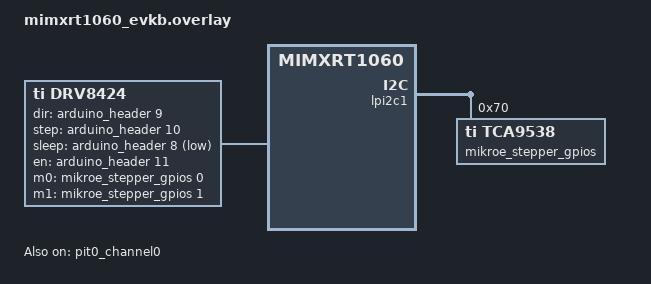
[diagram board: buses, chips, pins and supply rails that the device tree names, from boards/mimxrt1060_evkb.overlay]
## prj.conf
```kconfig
# Copyright (c) 2024 Navimatix GmbH
# SPDX-License-Identifier: Apache-2.0

CONFIG_ZTEST=y
CONFIG_TEST=y
CONFIG_TEST_USERSPACE=y
CONFIG_LOG=y
CONFIG_STEPPER_LOG_LEVEL_DBG=y
CONFIG_STEPPER=y
CONFIG_POLL=y
CONFIG_COUNTER=y
CONFIG_I2C=y
CONFIG_GPIO=y
```

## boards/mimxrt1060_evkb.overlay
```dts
/*
 * Copyright (c) 2024 Navimatix GmbH
 * SPDX-License-Identifier: Apache-2.0
 */

#include <zephyr/dt-bindings/gpio/gpio.h>

/ {
	 zephyr,user {
		 stepper-motors = <&drv8424 0>;
	 };
};

&lpi2c1 {
	 status = "okay";

	 mikroe_stepper_gpios: mikroe_stepper_ctrl_tca9538a@70 {
		 status = "okay";
		 compatible = "ti,tca9538";

		 reg = < 0x70 >;

		 gpio-controller;
		 ngpios = < 8 >;
		 #gpio-cells = < 2 >;

		 gpio-reserved-ranges = < 7 1 >;

		 gpio-line-names =
			 "M0",
			 "M1",
			 "DEC0",
			 "DEC1",
			 "TOFF",
			 "STP",
			 "DIR";
	 };
};

/ {

	 drv8424: drv8424 {
		 status = "okay";
		 compatible = "ti,drv8424";


		 dir-gpios = < &arduino_header 9 0 >; /* D3 */
		 step-gpios = < &arduino_header 10 0 >; /* D4 */
		 sleep-gpios = < &arduino_header 8 GPIO_ACTIVE_LOW >; /* D2 */
		 en-gpios  = < &arduino_header 11 0 >; /* 5 */
		 m0-gpios = < &mikroe_stepper_gpios 0 0 >;
		 m1-gpios = < &mikroe_stepper_gpios 1 0 >;
		 counter = < &pit0_channel0 >;

		 #address-cells = < 1 >;
		 #size-cells = < 0 >;
		 #stepper-motor-cells = < 0 >;

	 };
};

&pit0_channel0 {
	status = "okay";
};
```

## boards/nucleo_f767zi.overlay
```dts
/*
 * Copyright (c) 2024 Navimatix GmbH
 * SPDX-License-Identifier: Apache-2.0
 */

 #include <zephyr/dt-bindings/gpio/gpio.h>

/ {
	 zephyr,user {
		 stepper-motors = <&drv8424 0>;
	 };
};

&i2c1 {
	 status = "okay";

	 mikroe_stepper_gpios: mikroe_stepper_ctrl_tca9538a@70 {
		 status = "okay";
		 compatible = "ti,tca9538";

		 reg = < 0x70 >;

		 gpio-controller;
		 ngpios = < 8 >;
		 #gpio-cells = < 2 >;

		 gpio-reserved-ranges = < 7 1 >;

		 gpio-line-names =
			 "M0",
			 "M1",
			 "DEC0",
			 "DEC1",
			 "TOFF",
			 "STP",
			 "DIR";
	 };
};

/ {

	 drv8424: drv8424 {
		 status = "okay";
		 compatible = "ti,drv8424";


		 dir-gpios = < &arduino_header 18 0 >; /* D12 */
		 step-gpios = < &arduino_header 19 0 >; /* D13 */
		 sleep-gpios = < &arduino_header 15 GPIO_ACTIVE_LOW >; /* D9 */
		 en-gpios  = < &arduino_header 14 0 >; /* D8 */
		 m0-gpios = < &mikroe_stepper_gpios 0 0 >;
		 m1-gpios = < &mikroe_stepper_gpios 1 0 >;
		 counter = < &counter2 >;

		 #address-cells = < 1 >;
		 #size-cells = < 0 >;
		 #stepper-motor-cells = < 0 >;

	 };
};

&timers2 {
	 status = "okay";
	 counter2: counter {
		 status = "okay";
	 };
};
```

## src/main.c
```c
/*
 * Copyright 2024 Navimatix GmbH
 *
 * SPDX-License-Identifier: Apache-2.0
 */

#include "zephyr/drivers/gpio.h"
#include "zephyr/kernel.h"
#include "zephyr/ztest_assert.h"
#include <stdbool.h>
#include <stdint.h>
#include <zephyr/ztest.h>
#include <zephyr/drivers/stepper.h>

struct drv8424_api_fixture {
	const struct device *dev;
	stepper_event_callback_t callback;
};

struct k_poll_signal stepper_signal;
struct k_poll_event stepper_event;

struct gpio_dt_spec en_pin = GPIO_DT_SPEC_GET_OR(DT_NODELABEL(drv8424), en_gpios, {0});
struct gpio_dt_spec slp_pin = GPIO_DT_SPEC_GET_OR(DT_NODELABEL(drv8424), sleep_gpios, {0});

static void drv8424_api_print_event_callback(const struct device *dev, enum stepper_event event,
					     void *dummy)
{
	switch (event) {
	case STEPPER_EVENT_STEPS_COMPLETED:
		k_poll_signal_raise(&stepper_signal, STEPPER_EVENT_STEPS_COMPLETED);
		break;
	case STEPPER_EVENT_LEFT_END_STOP_DETECTED:
		k_poll_signal_raise(&stepper_signal, STEPPER_EVENT_LEFT_END_STOP_DETECTED);
		break;
	case STEPPER_EVENT_RIGHT_END_STOP_DETECTED:
		k_poll_signal_raise(&stepper_signal, STEPPER_EVENT_RIGHT_END_STOP_DETECTED);
		break;
	case STEPPER_EVENT_STALL_DETECTED:
		k_poll_signal_raise(&stepper_signal, STEPPER_EVENT_STALL_DETECTED);
		break;
	default:
		break;
	}
}

static void *drv8424_api_setup(void)
{
	static struct drv8424_api_fixture fixture = {
		.dev = DEVICE_DT_GET(DT_NODELABEL(drv8424)),
		.callback = drv8424_api_print_event_callback,
	};

	k_poll_signal_init(&stepper_signal);
	k_poll_event_init(&stepper_event, K_POLL_TYPE_SIGNAL, K_POLL_MODE_NOTIFY_ONLY,
			  &stepper_signal);

	zassert_not_null(fixture.dev);
	return &fixture;
}

static void drv8424_api_before(void *f)
{
	struct drv8424_api_fixture *fixture = f;
	(void)stepper_set_reference_position(fixture->dev, 0);
	(void)stepper_set_micro_step_res(fixture->dev, 1);
	k_poll_signal_reset(&stepper_signal);
}

static void drv8424_api_after(void *f)
{
	struct drv8424_api_fixture *fixture = f;
	(void)stepper_run(fixture->dev, STEPPER_DIRECTION_POSITIVE, 0);
}

ZTEST_F(drv8424_api, test_micro_step_res_set)
{
	(void)stepper_set_micro_step_res(fixture->dev, 4);
	enum stepper_micro_step_resolution res;
	(void)stepper_get_micro_step_res(fixture->dev, &res);
	zassert_equal(res, 4, "Micro step resolution not set correctly, should be %d but is %d", 4,
		      res);
}

ZTEST_F(drv8424_api, test_micro_step_res_set_incorrect_value_detection)
{
	int ret = 0;

	ret = stepper_set_micro_step_res(fixture->dev, 3);
	zassert_equal(ret, -EINVAL, "Command should fail with error %d but returned %d", -EINVAL,
		      ret);
}

ZTEST_F(drv8424_api, test_actual_position_set)
{
	int32_t pos = 100u;
	(void)stepper_set_reference_position(fixture->dev, pos);
	(void)stepper_get_actual_position(fixture->dev, &pos);
	zassert_equal(pos, 100u, "Actual position should be %u but is %u", 100u, pos);
}

ZTEST_F(drv8424_api, test_is_not_moving_when_disabled)
{
	int32_t steps = 100;
	bool moving = true;

	(void)stepper_enable(fixture->dev, true);
	(void)stepper_set_max_velocity(fixture->dev, 50u);
	(void)stepper_move_by(fixture->dev, steps);
	(void)stepper_enable(fixture->dev, false);
	(void)stepper_is_moving(fixture->dev, &moving);
	zassert_false(moving, "Driver should not be in state is_moving after being disabled");
}

ZTEST_F(drv8424_api, test_position_not_updating_when_disabled)
{
	int32_t steps = 1000;
	int32_t position_1 = 0;
	int32_t position_2 = 0;

	(void)stepper_enable(fixture->dev, true);
	(void)stepper_set_max_velocity(fixture->dev, 50u);
	(void)stepper_move_by(fixture->dev, steps);
	(void)stepper_enable(fixture->dev, false);
	(void)stepper_get_actual_position(fixture->dev, &position_1);
	k_msleep(100);
	(void)stepper_get_actual_position(fixture->dev, &position_2);
	zassert_equal(position_2, position_1,
		      "Actual position should not have changed from %d but is %d", position_1,
		      position_2);
}

ZTEST_F(drv8424_api, test_is_not_moving_when_reenabled_after_movement)
{
	int32_t steps = 1000;
	bool moving = true;

	(void)stepper_enable(fixture->dev, true);
	(void)stepper_set_max_velocity(fixture->dev, 50u);
	(void)stepper_move_by(fixture->dev, steps);
	(void)stepper_enable(fixture->dev, false);
	(void)k_msleep(100);
	(void)stepper_enable(fixture->dev, true);
	(void)k_msleep(100);
	(void)stepper_is_moving(fixture->dev, &moving);
	zassert_false(moving, "Driver should not be in state is_moving after being reenabled");
}
ZTEST_F(drv8424_api, test_position_not_updating_when_reenabled_after_movement)
{
	int32_t steps = 1000;
	int32_t position_1 = 0;
	int32_t position_2 = 0;

	(void)stepper_enable(fixture->dev, true);
	(void)stepper_set_max_velocity(fixture->dev, 50u);
	(void)stepper_move_by(fixture->dev, steps);
	(void)stepper_enable(fixture->dev, false);
	(void)stepper_get_actual_position(fixture->dev, &position_1);
	(void)k_msleep(100);
	(void)stepper_enable(fixture->dev, true);
	(void)k_msleep(100);
	(void)stepper_get_actual_position(fixture->dev, &position_2);
	zassert_equal(position_2, position_1,
		      "Actual position should not have changed from %d but is %d", position_1,
		      position_2);
}

ZTEST_F(drv8424_api, test_move_to_positive_direction_movement)
{
	int32_t pos = 50;

	(void)stepper_enable(fixture->dev, true);
	(void)stepper_set_max_velocity(fixture->dev, 50u);
	(void)stepper_set_event_callback(fixture->dev, fixture->callback, NULL);
	(void)stepper_move_to(fixture->dev, pos);
	(void)k_poll(&stepper_event, 1, K_SECONDS(5));
	unsigned int signaled;
	int result;

	k_poll_signal_check(&stepper_signal, &signaled, &result);
	zassert_equal(signaled, 1, "No event detected");
	zassert_equal(result, STEPPER_EVENT_STEPS_COMPLETED,
		      "Event was not STEPPER_EVENT_STEPS_COMPLETED event");
	(void)stepper_get_actual_position(fixture->dev, &pos);
	zassert_equal(pos, 50u, "Target position should be %d but is %d", 50u, pos);
}

ZTEST_F(drv8424_api, test_move_to_negative_direction_movement)
{
	int32_t pos = -50;

	(void)stepper_enable(fixture->dev, true);
	(void)stepper_set_max_velocity(fixture->dev, 50u);
	(void)stepper_set_event_callback(fixture->dev, fixture->callback, NULL);
	(void)stepper_move_to(fixture->dev, pos);
	(void)k_poll(&stepper_event, 1, K_SECONDS(5));
	unsigned int signaled;
	int result;

	k_poll_signal_check(&stepper_signal, &signaled, &result);
	zassert_equal(signaled, 1, "No event detected");
	zassert_equal(result, STEPPER_EVENT_STEPS_COMPLETED,
		      "Event was not STEPPER_EVENT_STEPS_COMPLETED event");
	(void)stepper_get_actual_position(fixture->dev, &pos);
	zassert_equal(pos, -50, "Target position should be %d but is %d", -50, pos);
}

ZTEST_F(drv8424_api, test_move_to_identical_current_and_target_position)
{
	int32_t pos = 0;

	(void)stepper_enable(fixture->dev, true);
	(void)stepper_set_max_velocity(fixture->dev, 50u);
	(void)stepper_set_event_callback(fixture->dev, fixture->callback, NULL);
	(void)stepper_move_to(fixture->dev, pos);
	(void)k_poll(&stepper_event, 1, K_SECONDS(5));
	unsigned int signaled;
	int result;

	k_poll_signal_check(&stepper_signal, &signaled, &result);
	zassert_equal(signaled, 1, "No event detected");
	zassert_equal(result, STEPPER_EVENT_STEPS_COMPLETED,
		      "Event was not STEPPER_EVENT_STEPS_COMPLETED event");
	(void)stepper_get_actual_position(fixture->dev, &pos);
	zassert_equal(pos, 0, "Target position should not have changed from %d but is %d", 0, pos);
}

ZTEST_F(drv8424_api, test_move_to_zero_velocity)
{
	int32_t pos = 100;
	int32_t ret = 0;

	(void)stepper_enable(fixture->dev, true);
	(void)stepper_set_max_velocity(fixture->dev, 0u);
	ret = stepper_move_to(fixture->dev, pos);

	zassert_not_equal(ret, 0, "Command should fail with an error code, but returned 0");
	k_msleep(100);
	(void)stepper_get_actual_position(fixture->dev, &pos);
	zassert_equal(pos, 0, "Target position should not have changed from %d but is %d", 0, pos);
}

ZTEST_F(drv8424_api, test_move_to_is_moving_true_while_moving)
{
	int32_t pos = 50;
	bool moving = false;

	(void)stepper_enable(fixture->dev, true);
	(void)stepper_set_max_velocity(fixture->dev, 50u);
	(void)stepper_set_event_callback(fixture->dev, fixture->callback, NULL);
	(void)stepper_move_to(fixture->dev, pos);
	(void)stepper_is_moving(fixture->dev, &moving);
	zassert_true(moving, "Driver should be in state is_moving while moving");
}

ZTEST_F(drv8424_api, test_move_to_is_moving_false_when_completed)
{
	int32_t pos = 50;
	bool moving = false;

	(void)stepper_enable(fixture->dev, true);
	(void)stepper_set_max_velocity(fixture->dev, 50u);
	(void)stepper_set_event_callback(fixture->dev, fixture->callback, NULL);
	(void)stepper_move_to(fixture->dev, pos);
	(void)k_poll(&stepper_event, 1, K_SECONDS(5));
	unsigned int signaled;
	int result;

	k_poll_signal_check(&stepper_signal, &signaled, &result);
	zassert_equal(signaled, 1, "No event detected");
	zassert_equal(result, STEPPER_EVENT_STEPS_COMPLETED,
		      "Event was not STEPPER_EVENT_STEPS_COMPLETED event");
	(void)stepper_is_moving(fixture->dev, &moving);
	zassert_false(moving, "Driver should not be in state is_moving after finishing");
}

ZTEST_F(drv8424_api, test_move_to_no_movement_when_disabled)
{
	int32_t pos = 50;
	int32_t curr_pos = 50;
	int32_t ret = 0;

	(void)stepper_set_max_velocity(fixture->dev, 50u);
	(void)stepper_enable(fixture->dev, false);

	ret = stepper_move_to(fixture->dev, pos);
	zassert_not_equal(
		ret, 0,
		"Movement command should not run when not enabled and should return error code");
	(void)stepper_get_actual_position(fixture->dev, &curr_pos);
	zassert_equal(curr_pos, 0, "Current position should not have changed from %d but is %d", 0,
		      curr_pos);
}

ZTEST_F(drv8424_api, test_move_by_positive_step_count)
{
	int32_t steps = 50;

	(void)stepper_enable(fixture->dev, true);
	(void)stepper_set_max_velocity(fixture->dev, 50u);
	(void)stepper_set_event_callback(fixture->dev, fixture->callback, NULL);
	(void)stepper_move_by(fixture->dev, steps);
	(void)k_poll(&stepper_event, 1, K_SECONDS(5));
	unsigned int signaled;
	int result;

	k_poll_signal_check(&stepper_signal, &signaled, &result);
	zassert_equal(signaled, 1, "No event detected");
	zassert_equal(result, STEPPER_EVENT_STEPS_COMPLETED,
		      "Event was not STEPPER_EVENT_STEPS_COMPLETED event");
	(void)stepper_get_actual_position(fixture->dev, &steps);
	zassert_equal(steps, 50u, "Target position should be %d but is %d", 50u, steps);
}

ZTEST_F(drv8424_api, test_move_by_negative_step_count)
{
	int32_t steps = -50;

	(void)stepper_enable(fixture->dev, true);
	(void)stepper_set_max_velocity(fixture->dev, 50u);
	(void)stepper_set_event_callback(fixture->dev, fixture->callback, NULL);
	(void)stepper_move_by(fixture->dev, steps);
	(void)k_poll(&stepper_event, 1, K_SECONDS(5));
	unsigned int signaled;
	int result;

	k_poll_signal_check(&stepper_signal, &signaled, &result);
	zassert_equal(signaled, 1, "No event detected");
	zassert_equal(result, STEPPER_EVENT_STEPS_COMPLETED,
		      "Event was not STEPPER_EVENT_STEPS_COMPLETED event");
	(void)stepper_get_actual_position(fixture->dev, &steps);
	zassert_equal(steps, -50, "Target position should be %d but is %d", -50, steps);
}

ZTEST_F(drv8424_api, test_move_by_zero_steps_no_movement)
{
	int32_t steps = 0;

	(void)stepper_enable(fixture->dev, true);
	(void)stepper_set_max_velocity(fixture->dev, 50u);
	(void)stepper_set_event_callback(fixture->dev, fixture->callback, NULL);
	(void)stepper_move_by(fixture->dev, steps);
	(void)k_poll(&stepper_event, 1, K_SECONDS(5));
	unsigned int signaled;
	int result;

	k_poll_signal_check(&stepper_signal, &signaled, &result);
	zassert_equal(signaled, 1, "No event detected");
	zassert_equal(result, STEPPER_EVENT_STEPS_COMPLETED,
		      "Event was not STEPPER_EVENT_STEPS_COMPLETED event");
	(void)stepper_get_actual_position(fixture->dev, &steps);
	zassert_equal(steps, 0, "Target position should be %d but is %d", 0, steps);
}

ZTEST_F(drv8424_api, test_move_by_zero_velocity)
{
	int32_t steps = 100;
	int32_t ret = 0;
	int32_t pos = 100;

	(void)stepper_enable(fixture->dev, true);
	(void)stepper_set_max_velocity(fixture->dev, 0u);
	ret = stepper_move_by(fixture->dev, steps);

	zassert_not_equal(ret, 0, "Command should fail with an error code, but returned 0");
	k_msleep(100);
	(void)stepper_get_actual_position(fixture->dev, &pos);
	zassert_equal(pos, 0, "Target position should not have changed from %d but is %d", 0, pos);
}

ZTEST_F(drv8424_api, test_move_by_is_moving_true_while_moving)
{
	int32_t steps = 50;
	bool moving = false;

	(void)stepper_enable(fixture->dev, true);
	(void)stepper_set_max_velocity(fixture->dev, 50u);
	(void)stepper_set_event_callback(fixture->dev, fixture->callback, NULL);
	(void)stepper_move_by(fixture->dev, steps);
	(void)stepper_is_moving(fixture->dev, &moving);
	zassert_true(moving, "Driver should be in state is_moving");
}

ZTEST_F(drv8424_api, test_move_by_is_moving_false_when_completed)
{
	int32_t steps = 50;
	bool moving = true;

	(void)stepper_enable(fixture->dev, true);
	(void)stepper_set_max_velocity(fixture->dev, 50u);
	(void)stepper_set_event_callback(fixture->dev, fixture->callback, NULL);
	(void)stepper_move_by(fixture->dev, steps);
	(void)k_poll(&stepper_event, 1, K_SECONDS(5));
	unsigned int signaled;
	int result;

	k_poll_signal_check(&stepper_signal, &signaled, &result);
	zassert_equal(signaled, 1, "No event detected");
	zassert_equal(result, STEPPER_EVENT_STEPS_COMPLETED,
		      "Event was not STEPPER_EVENT_STEPS_COMPLETED event");
	(void)stepper_is_moving(fixture->dev, &moving);
	zassert_false(moving, "Driver should not be in state is_moving after completion");
}

ZTEST_F(drv8424_api, test_move_by_no_movement_when_disabled)
{
	int32_t steps = 100;
	int32_t curr_pos = 100;
	int32_t ret = 0;

	(void)stepper_set_max_velocity(fixture->dev, 50u);
	(void)stepper_enable(fixture->dev, false);

	ret = stepper_move_by(fixture->dev, steps);
	zassert_not_equal(ret, 0, "Movement command should not run when not enabled");
	(void)stepper_get_actual_position(fixture->dev, &curr_pos);
	zassert_equal(curr_pos, 0, "Current position should not have changed from %d but is %d", 0,
		      curr_pos);
}

ZTEST_F(drv8424_api, test_run_positive_direction_correct_position)
{
	int32_t velocity = 50;
	int32_t steps = 0;

	(void)stepper_enable(fixture->dev, true);
	(void)stepper_run(fixture->dev, STEPPER_DIRECTION_POSITIVE, velocity);
	k_busy_wait(110000);

	(void)stepper_get_actual_position(fixture->dev, &steps);
	zassert_true(4 <= steps && steps <= 6,
		     "Current position should be between 4 and 6 but is %d", steps);
}

ZTEST_F(drv8424_api, test_run_negative_direction_correct_position)
{
	int32_t velocity = 50;
	int32_t steps = 0;

	(void)stepper_enable(fixture->dev, true);
	(void)stepper_run(fixture->dev, STEPPER_DIRECTION_NEGATIVE, velocity);
	k_busy_wait(110000);

	(void)stepper_get_actual_position(fixture->dev, &steps);
	zassert_true(-6 <= steps && steps <= -4,
		     "Current position should be between -6 and -4 but is %d", steps);
}

ZTEST_F(drv8424_api, test_run_zero_velocity_correct_position)
{
	int32_t velocity = 0;
	int32_t steps = 0;

	(void)stepper_enable(fixture->dev, true);
	(void)stepper_run(fixture->dev, STEPPER_DIRECTION_POSITIVE, velocity);
	k_msleep(100);

	zassert_equal(steps, 0, "Current position should not have changed from %d but is %d", 0,
		      steps);
}

ZTEST_F(drv8424_api, test_run_is_moving_true_when_velocity_greater_zero)
{
	int32_t velocity = 50;
	bool moving = false;

	(void)stepper_enable(fixture->dev, true);
	(void)stepper_run(fixture->dev, STEPPER_DIRECTION_POSITIVE, velocity);
	(void)stepper_is_moving(fixture->dev, &moving);
	zassert_true(moving, "Driver should be in state is_moving");
	(void)stepper_run(fixture->dev, STEPPER_DIRECTION_POSITIVE, 0);
}

ZTEST_F(drv8424_api, test_run_is_moving_false_when_velocity_zero)
{
	int32_t velocity = 50;
	bool moving = true;

	(void)stepper_enable(fixture->dev, true);
	(void)stepper_run(fixture->dev, STEPPER_DIRECTION_POSITIVE, velocity);
	(void)stepper_run(fixture->dev, STEPPER_DIRECTION_POSITIVE, 0);
	(void)stepper_is_moving(fixture->dev, &moving);
	zassert_false(moving, "Driver should not be in state is_moving when velocity is 0");
}

ZTEST_F(drv8424_api, test_run_no_movement_when_disabled)
{
	int32_t velocity = 50;
	int32_t steps = 50;
	int32_t ret = 0;

	(void)stepper_enable(fixture->dev, false);

	ret = stepper_run(fixture->dev, STEPPER_DIRECTION_POSITIVE, velocity);
	zassert_not_equal(ret, 0, "Movement command should not run when not enabled");
	(void)stepper_get_actual_position(fixture->dev, &steps);
	zassert_equal(steps, 0, "Current position should not have changed from %d but is %d", 0,
		      steps);
}

ZTEST_SUITE(drv8424_api, NULL, drv8424_api_setup, drv8424_api_before, drv8424_api_after, NULL);
```
